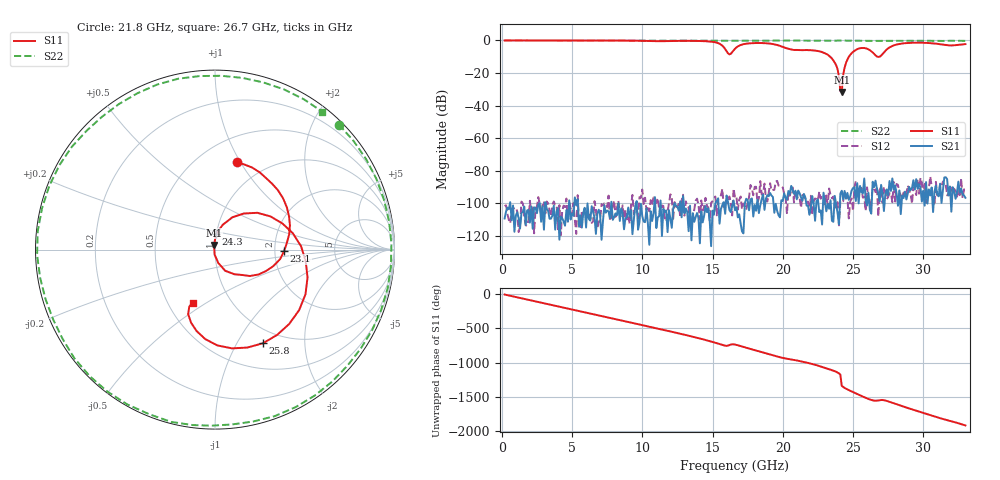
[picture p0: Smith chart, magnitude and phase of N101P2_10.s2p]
# GHZ S RI R 50
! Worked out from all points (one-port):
!   329 points, 200 MHz to 33 GHz, reference 50 ohm
!   lowest |S11| = -31.6 dB at 24.2 GHz (marker M1), VSWR 1.05, Z = 49.4 + j2.54 ohm
!   |S11| at or under -10 dB: 23.37 GHz to 24.71 GHz (1.338 GHz wide, 5.57 % of centre); 26.75 GHz to 26.9 GHz (146.3 MHz wide, 0.545 % of centre)
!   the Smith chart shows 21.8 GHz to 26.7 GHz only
!   S11 on the Smith chart (normalised r, x): 21.8 GHz: 0.74, +0.97; 23.1 GHz: 2.25, -0.04; 24.3 GHz: 1.00, +0.18; 25.8 GHz: 0.81, -1.29; 26.7 GHz: 0.66, -0.44
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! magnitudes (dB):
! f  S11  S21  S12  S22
! 200 MHz  0.0  -109.3  -101.7  0.0
! 5.7 GHz  0.0  -114.9  -104.8  -0.1
! 11.2 GHz  -0.5  -107.9  -103.5  -0.2
! 15.2 GHz  -1.2  -100.1  -95.8  -0.1
! 16.2 GHz  -8.5  -104.2  -95.8  -0.2
! 16.6 GHz  -5.1  -104.3  -96.5  -0.2
! 18.4 GHz  -1.6  -101.2  -86.4  -0.1
! 21.8 GHz  -6.0  -101.5  -99.0  -0.2
! 22.1 GHz  -6.1  -95.6  -107.3  -0.2
! 23.1 GHz  -8.3  -104.9  -95.2  -0.1
! 23.8 GHz  -15.2  -100.7  -102.0  -0.1
! 24 GHz  -22.3  -113.0  -113.6  -0.1
! 24.1 GHz  -31.0  -94.0  -98.9  -0.1
! 24.2 GHz  -31.6  -92.3  -98.0  -0.1
! 24.3 GHz  -21.2  -97.5  -98.8  -0.1
! 24.5 GHz  -13.8  -97.2  -95.0  -0.1
! 24.8 GHz  -8.9  -95.9  -98.8  -0.1
! 25.8 GHz  -4.6  -84.8  -96.1  -0.2
! 26.7 GHz  -9.8  -90.9  -89.8  -0.2
! 27.6 GHz  -4.3  -86.4  -93.9  -0.2
! 29.2 GHz  -1.4  -90.6  -100.2  -0.2
! 33 GHz  -2.3  -96.6  -91.5  -0.3
